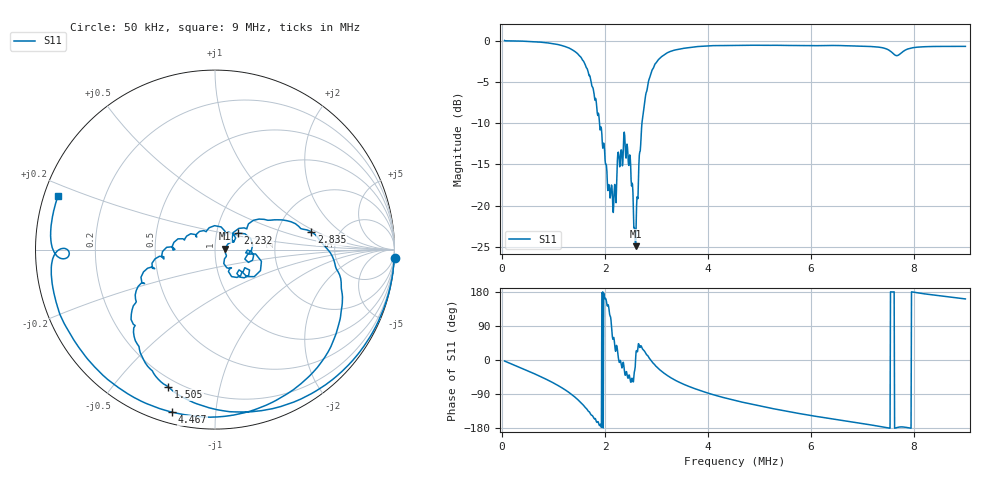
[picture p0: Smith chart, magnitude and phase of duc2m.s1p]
# Hz S RI R 50
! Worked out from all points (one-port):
!   1010 points, 50 kHz to 9 MHz, reference 50 ohm
!   lowest |S11| = -24.9 dB at 2.596 MHz (marker M1), VSWR 1.12, Z = 56 + j0.64 ohm
!   |S11| at or under -10 dB: 1.893 MHz to 2.718 MHz (824.6 kHz wide, 35.8 % of centre)
!   S11 on the Smith chart (normalised r, x): 50 kHz: -3, -41; 1.505 MHz: 0.16, -0.71; 2.232 MHz: 1.27, +0.24; 2.835 MHz: 3.13, +0.89; 4.467 MHz: 0.05, -0.77; 9 MHz: 0.04, +0.17
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50000  1.003 -0.0487
635400  0.7909 -0.5892
1176470  0.2491 -0.8985
1504670  -0.2592 -0.7655
1637670  -0.4235 -0.54
1752970  -0.4385 -0.2902
1894940  -0.3095 -0.0373
2081140  -0.0858 0.1015
2178740  0.0747 0.0976
2231940  0.1278 0.0926
2294040  0.181 -0.00303
2400540  0.1549 -0.1278
2453740  0.1219 -0.133
2560140  0.053 -0.0509
2595640  0.0565 0.0057
2710940  0.245 0.1701
2835110  0.5372 0.0993
3048010  0.7073 -0.315
3411710  0.4863 -0.7407
3872880  0.1326 -0.9158
4467180  -0.2397 -0.9057
4529350  -0.2721 -0.8969
5646920  -0.6978 -0.6238
6764590  -0.8899 -0.274
7536260  -0.8678 -0.000312
7678160  -0.8127 -0.0279
7882160  -0.8913 -0.0226
8999830  -0.875 0.2983
